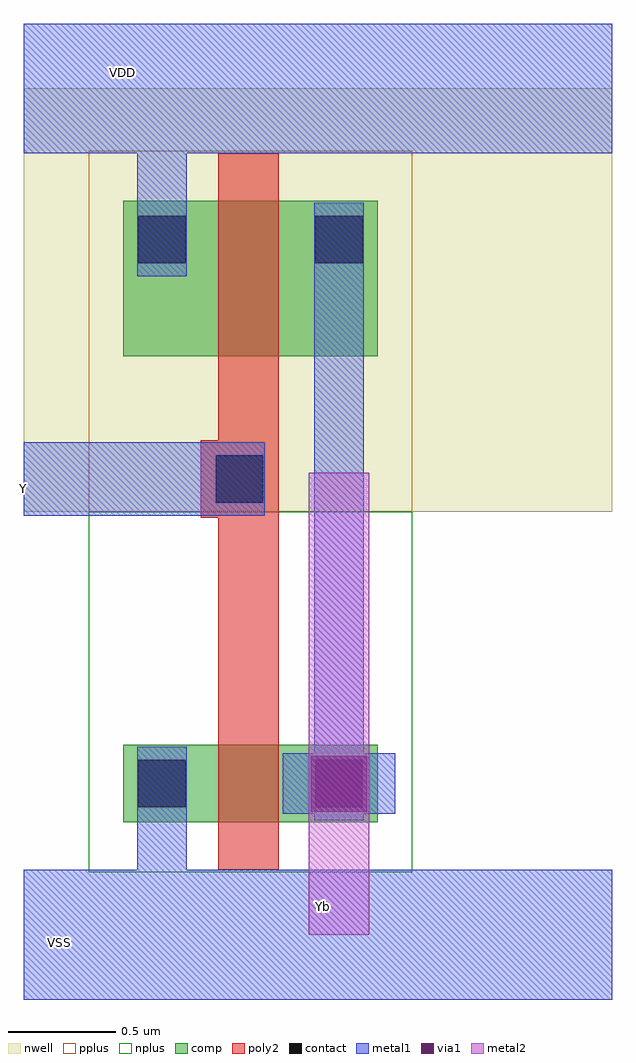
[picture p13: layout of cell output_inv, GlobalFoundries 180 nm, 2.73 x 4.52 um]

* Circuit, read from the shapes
.subckt output_inv VDD VSS Y Yb
XM1 Yb Y VSS VSUBS nfet_03v3 w=0.36u l=0.28u
XM2 Yb Y VDD n1 pfet_03v3 w=0.72u l=0.28u
.ends

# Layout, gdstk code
import gdstk
lib = gdstk.Library(unit=1e-6, precision=5e-09)
def R(c, l, rs):  # rectangles x0, y0, x1, y1
    for r in rs: c.add(gdstk.rectangle(r[:2], r[2:], *l))
nwell = (21, 0)
comp = (22, 0)
poly2 = (30, 0)
pplus = (31, 0)
nplus = (32, 0)
contact = (33, 0)
metal1 = (34, 0)
via1 = (35, 0)
metal2 = (36, 0)

output_inv = lib.new_cell('output_inv')
R(output_inv, nwell, [(0,1.96,2.725,3.92)])
R(output_inv, comp, [(0.46,0.52,1.64,0.88), (0.46,2.68,1.64,3.4)])
R(output_inv, poly2, [(0.9,0.3,1.18,1.93), (0.82,1.93,1.18,2.29), (0.9,2.29,1.18,3.62)])
R(output_inv, pplus, [(0.3,1.96,1.8,3.63)])
R(output_inv, nplus, [(0.3,0.29,1.8,1.96)])
R(output_inv, contact, [(0.53,0.59,0.75,0.81), (1.35,0.59,1.57,0.81), (0.89,2,1.11,2.22), (0.53,3.11,0.75,3.33), (1.35,3.11,1.57,3.33)])
R(output_inv, metal1, [(0,-0.3,2.725,0.3), (0.525,0.3,0.755,0.87), (1.345,0.53,1.575,3.39), (1.2,0.56,1.72,0.84), (0,1.94,1.115,2.28), (0.525,3.05,0.755,3.62), (0,3.62,2.725,4.22)])
R(output_inv, via1, [(1.33,0.57,1.59,0.83)])
R(output_inv, metal2, [(1.32,0,1.6,2.14)])
output_inv.add(gdstk.Label('VDD', (0.455,3.995), layer=34, texttype=10))
output_inv.add(gdstk.Label('VSS', (0.165,-0.035), layer=34, texttype=10))
output_inv.add(gdstk.Label('Y', (0,2.065), layer=34, texttype=10))
output_inv.add(gdstk.Label('Yb', (1.39,0.13), layer=36, texttype=10))

lib.write_gds('output_inv.gds')
